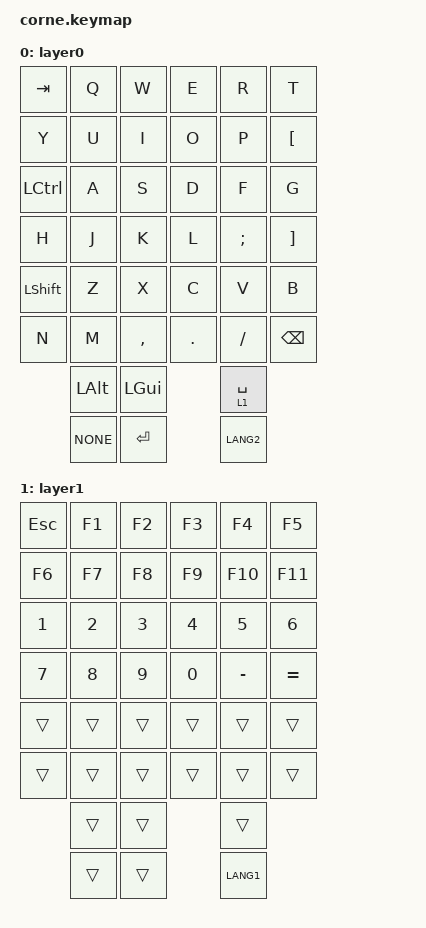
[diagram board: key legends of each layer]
#include <behaviors.dtsi>
#include <dt-bindings/zmk/keys.h>

/ {
  keymap {
    compatible = "zmk,keymap";

    /* =====================================================
     * Layer 0: Base
     * ===================================================== */
    layer0 {
      bindings = <
        /* ---- Main matrix (3×6 left + 3×6 right = 36) ---- */
        &kp TAB     &kp Q     &kp W     &kp E     &kp R     &kp T
        &kp Y       &kp U     &kp I     &kp O     &kp P     &kp LBKT

        &kp LCTRL   &kp A     &kp S     &kp D     &kp F     &kp G
        &kp H       &kp J     &kp K     &kp L     &kp SEMI  &kp RBKT

        &kp LSHIFT  &kp Z     &kp X     &kp C     &kp V     &kp B
        &kp N       &kp M     &kp COMMA &kp DOT   &kp SLASH &kp BSPC

        /* ---- Thumbs (MUST be 3 left + 3 right = 6) ---- */
                    &kp LALT      &kp LGUI      &lt 1 SPACE
                    &kp NONE      &kp ENTER     &kp LANG2
      >;
    };

    /* =====================================================
     * Layer 1: Numbers / F-Keys
     * ===================================================== */
    layer1 {
      bindings = <
        &kp ESC   &kp F1   &kp F2   &kp F3   &kp F4   &kp F5
        &kp F6    &kp F7   &kp F8   &kp F9   &kp F10  &kp F11

        &kp N1    &kp N2   &kp N3   &kp N4   &kp N5   &kp N6
        &kp N7    &kp N8   &kp N9   &kp N0   &kp MINUS &kp EQUAL

        &trans    &trans   &trans   &trans   &trans   &trans
        &trans    &trans   &trans   &trans   &trans   &trans

                    &trans        &trans        &trans
                    &trans        &trans        &kp LANG1
      >;
    };
  };

  /* =====================================================
   * Encoder (right side)
   * ===================================================== */
  encoders {
    compatible = "zmk,encoders";

    right_encoder {
      /* Rotation: CW, CCW */
      bindings = <
        /* Layer 0 */ &kp PG_DN     &kp PG_UP
        /* Layer 1 */ &kp C_VOL_DN  &kp C_VOL_UP
      >;

      /* Press */
      press-bindings = <
        /* Layer 0 */ &kp BROWSER_BACK
        /* Layer 1 */ &kp BROWSER_FORWARD
      >;
    };
  };
};

